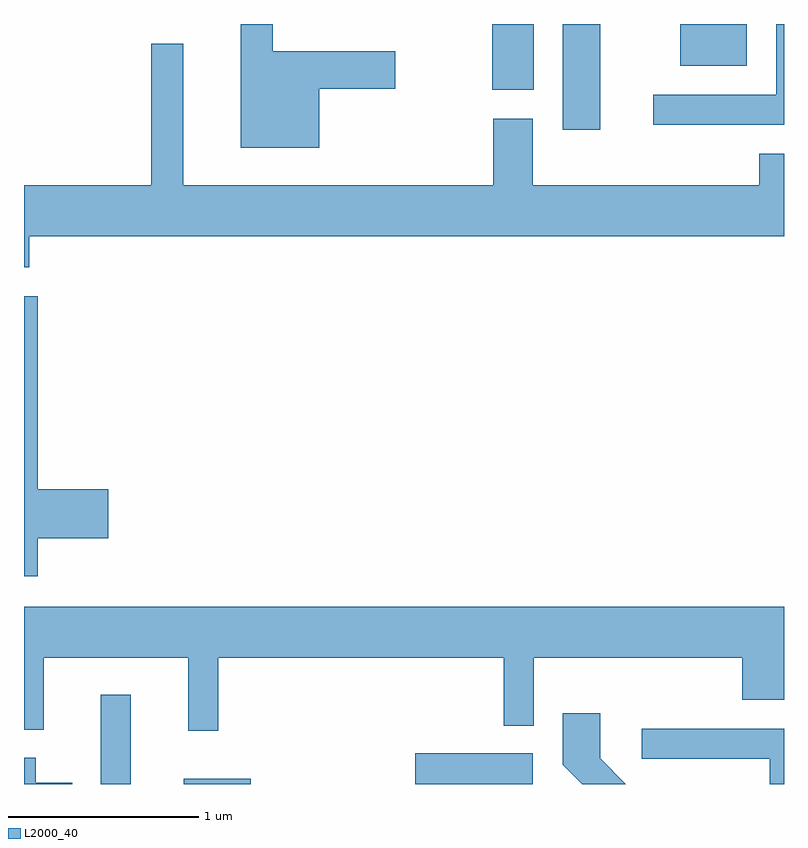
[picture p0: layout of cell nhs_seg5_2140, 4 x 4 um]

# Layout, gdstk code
import gdstk
lib = gdstk.Library(unit=1e-6, precision=1e-09)
def R(c, l, rs):  # rectangles x0, y0, x1, y1
    for r in rs: c.add(gdstk.rectangle(r[:2], r[2:], *l))
def P(c, l, *ps):  # polygons
    for p in ps: c.add(gdstk.Polygon(p, *l))
L2000_40 = (2000, 40)

nhs_seg5_2140 = lib.new_cell('nhs_seg5_2140')
R(nhs_seg5_2140, L2000_40, [(248.016,1516.072,248.174,1516.543), (248.451,1516.072,248.804,1516.099), (249.671,1516.072,250.289,1516.234), (250.446,1519.516,250.644,1520.072), (251.066,1519.851,251.414,1520.072)])
P(nhs_seg5_2140, L2000_40, [(249.164,1519.731),(249.564,1519.731),(249.564,1519.929),(248.919,1519.929),(248.919,1520.072),(248.751,1520.072),(248.751,1519.421),(249.164,1519.421)],
  [(250.294,1520.072),(249.706,1520.072),(249.706,1520.071),(250.076,1520.071),(250.076,1519.726),(250.294,1519.726)],
  [(251.611,1520.072),(251.571,1520.072),(251.571,1519.699),(250.923,1519.699),(250.923,1519.541),(251.611,1519.541)],
  [(247.639,1518.956),(251.611,1518.956),(251.611,1519.389),(251.481,1519.389),(251.481,1519.224),(250.289,1519.224),(250.289,1519.574),(250.081,1519.574),(250.081,1519.224),(248.449,1519.224),(248.449,1519.968),(248.281,1519.968),(248.281,1519.224),(247.611,1519.224),(247.611,1518.791),(247.639,1518.791)],
  [(247.684,1517.366),(248.054,1517.366),(248.054,1517.624),(247.684,1517.624),(247.684,1518.639),(247.611,1518.639),(247.611,1517.166),(247.684,1517.166)],
  [(248.634,1516.736),(250.136,1516.736),(250.136,1516.378),(250.294,1516.378),(250.294,1516.736),(251.391,1516.736),(251.391,1516.516),(251.611,1516.516),(251.611,1517.004),(247.611,1517.004),(247.611,1516.358),(247.714,1516.358),(247.714,1516.736),(248.476,1516.736),(248.476,1516.353),(248.634,1516.353)],
  [(250.644,1516.207),(250.644,1516.444),(250.446,1516.444),(250.446,1516.174),(250.548,1516.072),(250.779,1516.072)],
  [(251.611,1516.364),(250.863,1516.364),(250.863,1516.206),(251.536,1516.206),(251.536,1516.072),(251.611,1516.072)],
  [(247.864,1516.079),(247.674,1516.079),(247.674,1516.209),(247.611,1516.209),(247.611,1516.072),(247.864,1516.072)])

lib.write_gds('nhs_seg5_2140.gds')
